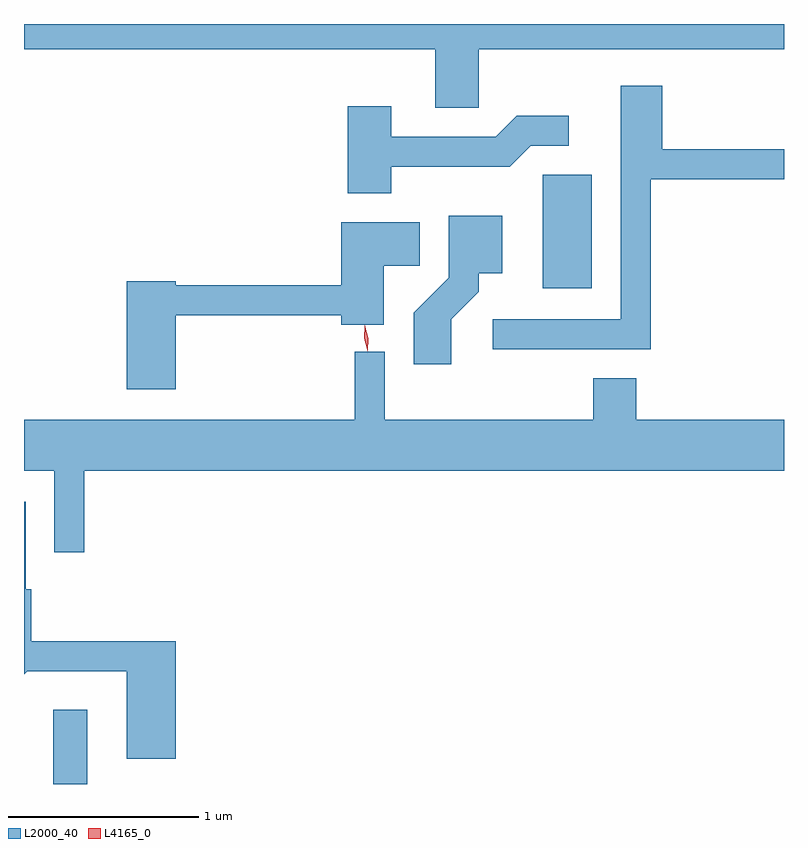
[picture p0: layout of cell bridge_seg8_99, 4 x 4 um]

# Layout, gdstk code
import gdstk
lib = gdstk.Library(unit=1e-6, precision=1e-09)
def R(c, l, rs):  # rectangles x0, y0, x1, y1
    for r in rs: c.add(gdstk.rectangle(r[:2], r[2:], *l))
def P(c, l, *ps):  # polygons
    for p in ps: c.add(gdstk.Polygon(p, *l))
L2000_40 = (2000, 40)
L4165_0 = (4165, 0)

bridge_seg8_99 = lib.new_cell('bridge_seg8_99')
R(bridge_seg8_99, L2000_40, [(1568.341,1839.208,1568.519,1839.599), (1570.916,1841.816,1571.174,1842.414)])
P(bridge_seg8_99, L2000_40, [(1570.579,1843.076),(1572.186,1843.076),(1572.186,1843.208),(1568.186,1843.208),(1568.186,1843.076),(1570.351,1843.076),(1570.351,1842.766),(1570.579,1842.766)],
  [(1571.484,1842.391),(1572.186,1842.391),(1572.186,1842.549),(1571.544,1842.549),(1571.544,1842.884),(1571.326,1842.884),(1571.326,1841.654),(1570.653,1841.654),(1570.653,1841.496),(1571.484,1841.496)],
  [(1570.119,1842.456),(1570.742,1842.456),(1570.852,1842.566),(1571.053,1842.566),(1571.053,1842.724),(1570.779,1842.724),(1570.669,1842.614),(1570.119,1842.614),(1570.119,1842.774),(1569.891,1842.774),(1569.891,1842.316),(1570.119,1842.316)],
  [(1570.434,1841.654),(1570.579,1841.799),(1570.579,1841.896),(1570.704,1841.896),(1570.704,1842.199),(1570.421,1842.199),(1570.421,1841.872),(1570.236,1841.687),(1570.236,1841.416),(1570.434,1841.416)],
  [(1568.984,1841.676),(1569.856,1841.676),(1569.856,1841.626),(1570.079,1841.626),(1570.079,1841.936),(1570.269,1841.936),(1570.269,1842.164),(1569.856,1842.164),(1569.856,1841.834),(1568.984,1841.834),(1568.984,1841.854),(1568.726,1841.854),(1568.726,1841.286),(1568.984,1841.286)],
  [(1568.504,1840.856),(1572.186,1840.856),(1572.186,1841.124),(1571.409,1841.124),(1571.409,1841.344),(1571.181,1841.344),(1571.181,1841.124),(1570.084,1841.124),(1570.084,1841.483),(1569.926,1841.483),(1569.926,1841.124),(1568.186,1841.124),(1568.186,1840.856),(1568.346,1840.856),(1568.346,1840.428),(1568.504,1840.428)],
  [(1568.984,1839.959),(1568.224,1839.959),(1568.224,1840.234),(1568.194,1840.234),(1568.194,1840.694),(1568.186,1840.694),(1568.186,1839.785),(1568.202,1839.801),(1568.726,1839.801),(1568.726,1839.341),(1568.984,1839.341)])
P(bridge_seg8_99, L4165_0, [(1569.995,1841.485),(1569.995,1841.485),(1569.977,1841.553),(1569.979,1841.622),(1569.98,1841.622),(1569.98,1841.622),(1569.997,1841.555),(1569.996,1841.485)])

lib.write_gds('bridge_seg8_99.gds')
